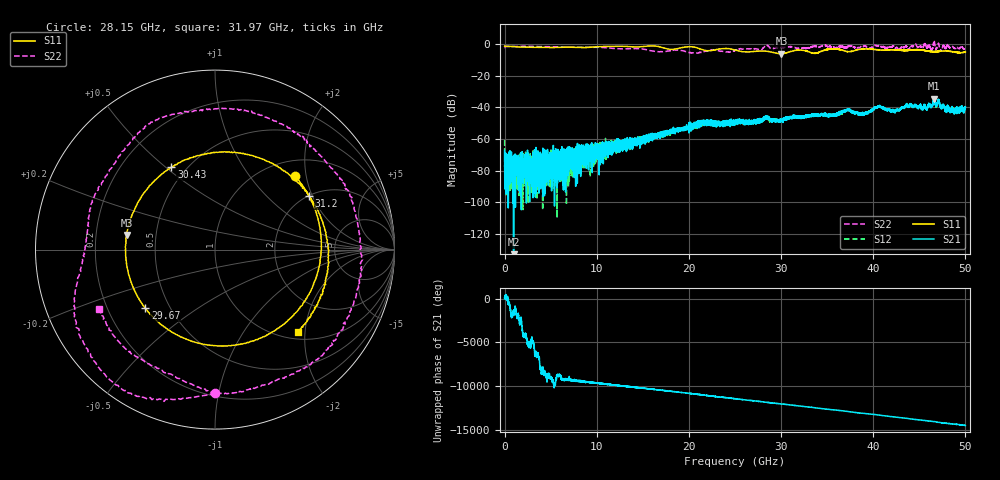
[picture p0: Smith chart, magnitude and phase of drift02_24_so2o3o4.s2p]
!Created with skrf (http://scikit-rf.org).
# Hz S RI R 50.0
!freq ReS11 ImS11 ReS21 ImS21 ReS12 ImS12 ReS22 ImS22
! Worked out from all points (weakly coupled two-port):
!   10001 points, 300 kHz to 50 GHz, reference 50 ohm
!   highest |S21| = -34.44 dB at 46.61 GHz (marker M1); lowest = -136.3 dB at 975.3 MHz (marker M2)
!   lowest |S11| = -6.1 dB at 30.04 GHz (marker M3), VSWR 2.97, Z = 16.9 + j3.64 ohm
!   |S11| at or under -10 dB: nowhere
!   |S22| runs from -5.7 to 2.4 dB; largest |S21 - S12| = 0.0036
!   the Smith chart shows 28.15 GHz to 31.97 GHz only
!   S11 on the Smith chart (normalised r, x): 28.15 GHz: 1.32, +1.72; 29.67 GHz: 0.36, -0.32; 30.43 GHz: 0.42, +0.52; 31.2 GHz: 2.02, +1.89; 31.97 GHz: 1.16, -1.84
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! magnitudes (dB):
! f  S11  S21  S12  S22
! 300 kHz  -1.3  -67.1  -60.7  -2.1
! 255.3 MHz  -1.4  -73.4  -81.8  -1.4
! 975.3 MHz  -1.5  -136.3  -80.7  -1.5
! 3.87 GHz  -2.0  -68.3  -78.3  -1.5
! 8.335 GHz  -2.2  -73.2  -70.7  -1.9
! 16.67 GHz  -1.5  -58.6  -57.2  -4.7
! 21.55 GHz  -3.6  -48.4  -49.2  -4.7
! 25 GHz  -3.7  -49.0  -48.7  -3.9
! 28.15 GHz  -4.4  -46.8  -47.5  -2.0
! 29.67 GHz  -5.9  -48.6  -48.1  -2.2
! 30.04 GHz  -6.1  -48.3  -48.4  -2.0
! 30.43 GHz  -5.7  -48.1  -46.9  -1.8
! 31.2 GHz  -4.4  -45.7  -46.1  -1.7
! 31.97 GHz  -3.7  -46.7  -46.0  -2.8
! 33.34 GHz  -5.5  -44.9  -45.0  -1.6
! 37.27 GHz  -4.7  -41.2  -41.5  -1.5
! 38.85 GHz  -3.1  -44.2  -44.2  -1.3
! 40.64 GHz  -3.7  -39.1  -39.0  -0.9
! 41.67 GHz  -3.6  -41.3  -41.1  -1.8
! 46.61 GHz  -4.7  -34.4  -34.9  2.4
! 48.55 GHz  -4.7  -41.1  -40.9  -1.7
! 50 GHz  -5.0  -39.8  -40.8  -2.7
